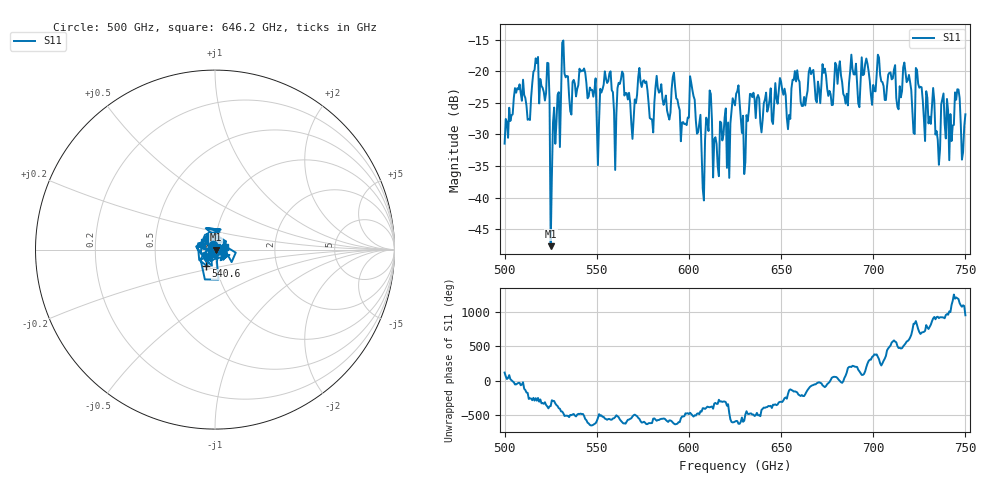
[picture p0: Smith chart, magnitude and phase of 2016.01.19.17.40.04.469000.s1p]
!Created with skrf (http://scikit-rf.org).
# GHz S RI R 50.0
!freq ReS11 ImS11
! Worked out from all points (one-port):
!   401 points, 500 GHz to 750 GHz, reference 50 ohm
!   lowest |S11| = -47.7 dB at 525 GHz (marker M1), VSWR 1.01, Z = 50.4 - j0.0324 ohm
!   |S11| at or under -10 dB: start of sweep to end of sweep
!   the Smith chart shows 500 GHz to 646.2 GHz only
!   S11 on the Smith chart (normalised r, x): 500 GHz: 0.97, +0.04; 540.6 GHz: 0.89, -0.17; 646.2 GHz: 1.12, +0.03
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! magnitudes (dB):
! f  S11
! 500 GHz  -31.4
! 506.9 GHz  -22.7
! 513.1 GHz  -27.6
! 516.9 GHz  -17.9
! 523.1 GHz  -18.7
! 525 GHz  -47.7
! 531.2 GHz  -15.5
! 540.6 GHz  -19.6
! 551.2 GHz  -27.9
! 562.5 GHz  -22.0
! 569.4 GHz  -30.7
! 573.8 GHz  -21.7
! 579.4 GHz  -27.5
! 593.8 GHz  -24.5
! 601.9 GHz  -23.0
! 608.1 GHz  -40.4
! 610.6 GHz  -29.4
! 615 GHz  -31.5
! 625 GHz  -25.4
! 629.4 GHz  -27.0
! 634.4 GHz  -24.1
! 646.2 GHz  -25.0
! 656.2 GHz  -21.3
! 687.5 GHz  -19.9
! 718.8 GHz  -21.4
! 735 GHz  -30.8
! 745.6 GHz  -22.8
! 750 GHz  -26.8
